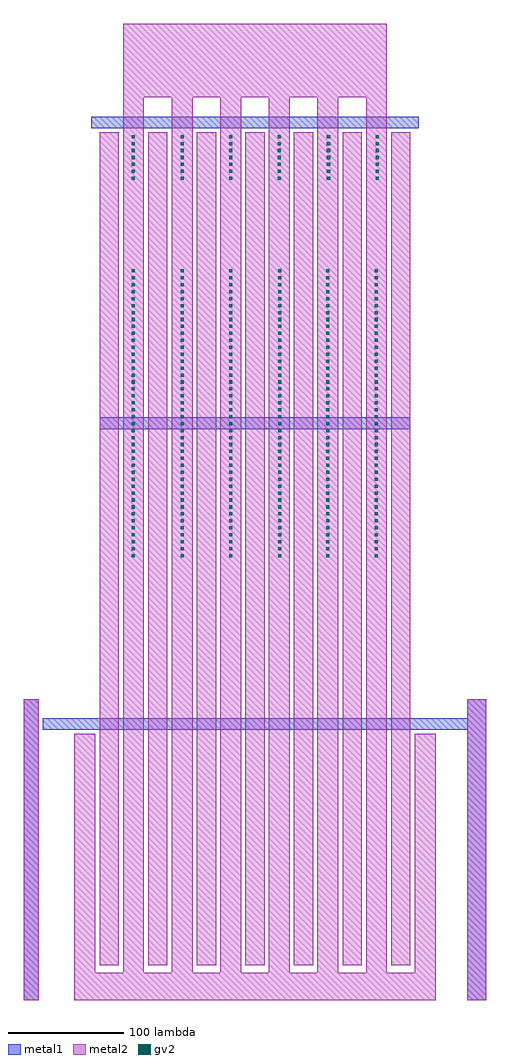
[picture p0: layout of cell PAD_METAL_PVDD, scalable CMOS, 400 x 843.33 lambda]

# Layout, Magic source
magic
tech scmos
magscale 1 6
<< metal1 >>
rect 352 4520 2048 4580
rect 394 2960 2006 3020
rect 0 0 80 1560
rect 2300 1460 2400 1560
rect 100 1400 2400 1460
rect 2300 0 2400 1400
<< metal2 >>
rect 516 4680 1884 5060
rect 0 0 80 1560
rect 264 141 372 1380
rect 394 180 494 4500
rect 516 141 624 4680
rect 646 180 746 4500
rect 768 141 876 4680
rect 898 180 998 4500
rect 1020 141 1128 4680
rect 1150 180 1250 4500
rect 1272 141 1380 4680
rect 1402 180 1502 4500
rect 1524 141 1632 4680
rect 1654 180 1754 4500
rect 1776 141 1884 4680
rect 1906 180 2006 4500
rect 2028 141 2136 1380
rect 264 0 2136 141
rect 2300 0 2400 1560
use VIA2  VIA2_0
array 0 0 0 0 41 36
transform 1 0 568 0 1 2304
box -8 -8 8 8
use VIA2  VIA2_1
array 0 0 0 0 41 36
transform 1 0 1578 0 1 2304
box -8 -8 8 8
use VIA2  VIA2_2
array 0 0 0 0 6 36
transform 1 0 1326 0 1 4260
box -8 -8 8 8
use VIA2  VIA2_3
array 0 0 0 0 41 36
transform 1 0 1328 0 1 2304
box -8 -8 8 8
use VIA2  VIA2_4
array 0 0 0 0 6 36
transform 1 0 1074 0 1 4260
box -8 -8 8 8
use VIA2  VIA2_5
array 0 0 0 0 6 36
transform 1 0 1581 0 1 4260
box -8 -8 8 8
use VIA2  VIA2_6
array 0 0 0 0 6 36
transform 1 0 569 0 1 4260
box -8 -8 8 8
use VIA2  VIA2_7
array 0 0 0 0 41 36
transform 1 0 1829 0 1 2304
box -8 -8 8 8
use VIA2  VIA2_8
array 0 0 0 0 41 36
transform 1 0 823 0 1 2304
box -8 -8 8 8
use VIA2  VIA2_9
array 0 0 0 0 41 36
transform 1 0 1075 0 1 2304
box -8 -8 8 8
use VIA2  VIA2_10
array 0 0 0 0 6 36
transform 1 0 822 0 1 4260
box -8 -8 8 8
use VIA2  VIA2_11
array 0 0 0 0 6 36
transform 1 0 1833 0 1 4260
box -8 -8 8 8
<< end >>

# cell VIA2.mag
magic
tech scmos
magscale 1 3
<< gv2 >>
rect -4 -4 4 4
<< end >>
